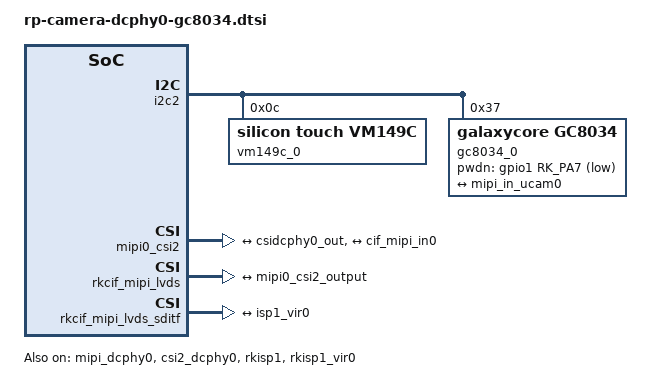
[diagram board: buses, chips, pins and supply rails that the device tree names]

&i2c2 {
    status = "okay";
    pinctrl-names = "default";
    pinctrl-0 = <&i2c2m4_xfer>;

vm149c_0: vm149c_0@0c { 
        compatible = "silicon touch,vm149c";
        status = "okay";
        reg = <0x0c>;
        rockchip,vcm-start-current = <20>; // 马达的启动电流
        rockchip,vcm-rated-current = <100>; // 马达的额定电流
        rockchip,vcm-step-mode = <13>; // 马达驱动 ic 的电流输出模式
        rockchip,camera-module-index = <0>; // 模组编号
        rockchip,camera-module-facing = "back"; // 模组朝向，有"back"和"front"
};   
  
    gc8034_0: gc8034_0@37 {
        compatible = "galaxycore,gc8034";
        status = "okay";
        reg = <0x37>;
        clocks = <&cru CLK_MIPI_CAMARAOUT_M1>;
        clock-names = "xvclk";
        power-domains = <&power RK3588_PD_VI>;
        pinctrl-names = "default";
        pinctrl-0 = <&mipim0_camera1_clk>;
        rockchip,grf = <&sys_grf>;
        pwdn-gpios = <&gpio1 RK_PA7 GPIO_ACTIVE_LOW>;
        rockchip,camera-module-index = <0>;
        rockchip,camera-module-facing = "back";
        rockchip,camera-module-name = "RK-CMK-8M-2-v1";
        rockchip,camera-module-lens-name = "CK8401-4";        
        lens-focus = <&vm149c_0>;    
    port {
            gc8034_out0: endpoint {
                remote-endpoint = <&mipi_in_ucam0>;
                data-lanes = <1 2 3 4>;
            };
        };
    };
};


&mipi_dcphy0 {
    status = "okay";
};

&csi2_dcphy0 {
    status = "okay";

    ports {
        #address-cells = <1>;
        #size-cells = <0>;
    port@0 {
            reg = <0>;
            #address-cells = <1>;
            #size-cells = <0>;

            mipi_in_ucam0: endpoint@1 {
                reg = <1>;
                remote-endpoint = <&gc8034_out0>;
        data-lanes = <1 2 3 4>;
            };
        };

        port@1 {
            reg = <1>;
            #address-cells = <1>;
            #size-cells = <0>;

            csidcphy0_out: endpoint@0 {
                reg = <0>;
                remote-endpoint = <&mipi0_csi2_input>;
            };
        };
    };
};

&mipi0_csi2 {
    status = "okay";

    ports {
        #address-cells = <1>;
        #size-cells = <0>;

        port@0 {
            reg = <0>;
            #address-cells = <1>;
            #size-cells = <0>;

            mipi0_csi2_input: endpoint@0 {
                reg = <0>;
                remote-endpoint = <&csidcphy0_out>;
            };
        };

        port@1 {
            reg = <1>;
            #address-cells = <1>;
            #size-cells = <0>;

            mipi0_csi2_output: endpoint@1 {
                reg = <1>;
                remote-endpoint = <&cif_mipi_in0>;
            };
        };
    };
};

&rkcif_mipi_lvds {
    status = "okay";

    port {
        cif_mipi_in0: endpoint {
            remote-endpoint = <&mipi0_csi2_output>;
        };
    };
};

&rkcif_mipi_lvds_sditf {
    status = "okay";

    port {
        mipi_lvds_sditf: endpoint {
            remote-endpoint = <&isp1_vir0>;
        };
    };
};

&rkisp1 {
    status = "okay";
};

&isp1_mmu {
    status = "okay";
};

&rkisp1_vir0 {
    status = "okay";
    port {
        #address-cells = <1>;
        #size-cells = <0>;

        isp1_vir0: endpoint@0 {
            reg = <0>;
            remote-endpoint = <&mipi_lvds_sditf>;
        };
    };
};



